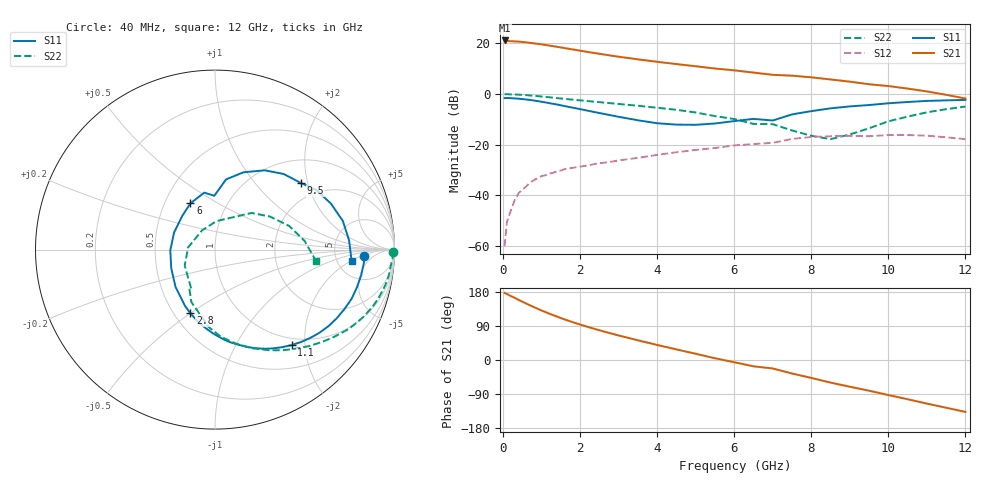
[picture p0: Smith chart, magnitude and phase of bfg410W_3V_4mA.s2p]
! Filename: 34bfg410.001
! BFG410W Field B1
! V1=8.478E-001V,V2=3.000E+000V, I1=5.488E-005A, I2=4.000E-003A
# GHz  S  MA  R 50
!  S11  S21  S12  S22
!Freq(GHz)  Mag  Ang  Mag  Ang  Mag  Ang  Mag  Ang
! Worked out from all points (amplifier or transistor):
!   44 points, 40 MHz to 12 GHz, reference 50 ohm
!   highest |S21| = 21.1 dB at 40 MHz (marker M1)
!   |S21| within 3 dB of that: start of sweep to 1.599 GHz
!   unconditionally stable (mu >= 1): 2.764 GHz to end of sweep
!   at 700 MHz: K = 0.29, MSG = 27.5 dB, |S12| = -34.9 dB
!   at 2.4 GHz: K = 0.88, MSG = 21.8 dB, |S12| = -27.5 dB
!   at 12 GHz: K = 1.63, MAG = 3.3 dB, |S12| = -17.8 dB
!   S11 on the Smith chart (normalised r, x): 40 MHz: 10, -2; 1.1 GHz: 0.87, -1.74; 2.8 GHz: 0.60, -0.50; 6 GHz: 0.67, +0.38; 9.5 GHz: 1.55, +1.81; 12 GHz: 6.82, -2.10
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0.04  0.829 -2.3  11.36 176.9  0.001 63.4  0.991 -0.8
0.1  0.833 -5.0  11.11 174.2  0.003 86.9  0.991 -2.7
0.2  0.827 -9.9  10.97 168.8  0.005 81.9  0.982 -5.9
0.4  0.809 -19.7  10.78 158.7  0.011 76.6  0.97 -11.6
0.6  0.779 -29.3  10.43 149.0  0.015 71.0  0.949 -16.9
0.9  0.724 -42.8  9.751 135.1  0.022 63.6  0.907 -24.5
1.1  0.682 -51.3  9.257 126.5  0.025 59.3  0.877 -29.0
1.3  0.64 -59.2  8.75 118.4  0.028 55.6  0.845 -33.2
1.6  0.577 -70.7  8.037 107.1  0.033 51.1  0.801 -38.9
1.9  0.521 -81.1  7.354 96.8  0.036 47.5  0.761 -44.2
2.2  0.468 -91.2  6.74 87.4  0.039 44.6  0.724 -49.2
2.8  0.38 -111.3  5.716 70.1  0.046 40.1  0.657 -58.6
3.5  0.303 -136.5  4.818 52.0  0.055 35.3  0.586 -69.6
4.5  0.249 -179.2  3.889 28.0  0.071 26.2  0.487 -86.1
5.5  0.262 134.1  3.178 4.6  0.086 13.0  0.366 -103.9
6  0.292 117.9  2.924 -5.9  0.097 7.7  0.321 -114.2
6.5  0.323 100.6  2.642 -16.7  0.103 1.0  0.257 -123.9
8  0.459 69.8  2.132 -47.3  0.142 -18.6  0.15 175.1
8.5  0.521 58.0  1.933 -59.6  0.147 -31.3  0.129 124.5
9.5  0.606 37.7  1.556 -81.1  0.147 -51.3  0.211 59.5
10.5  0.695 21.6  1.279 -103.5  0.155 -72.1  0.358 30.9
12  0.764 -4.8  0.815 -136.9  0.129 -111.5  0.565 -6.2
